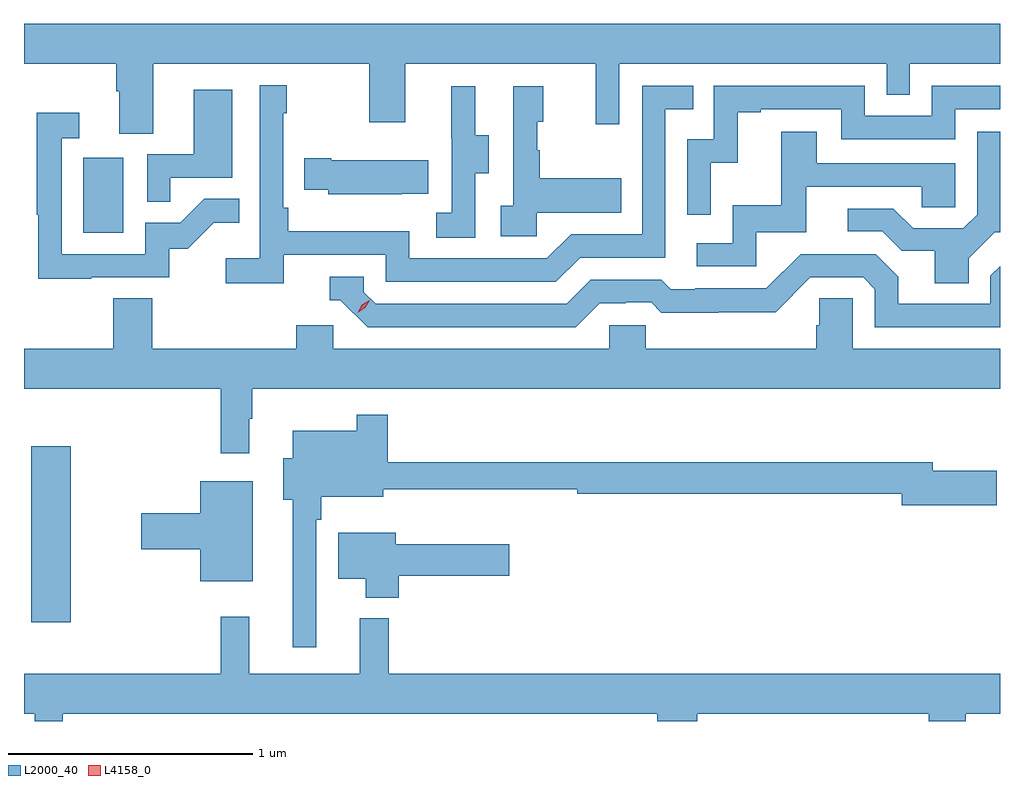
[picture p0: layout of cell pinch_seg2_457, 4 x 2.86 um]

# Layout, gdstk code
import gdstk
lib = gdstk.Library(unit=1e-6, precision=1e-09)
def R(c, l, rs):  # rectangles x0, y0, x1, y1
    for r in rs: c.add(gdstk.rectangle(r[:2], r[2:], *l))
def P(c, l, *ps):  # polygons
    for p in ps: c.add(gdstk.Polygon(p, *l))
L2000_40 = (2000, 40)
L4158_0 = (4158, 0)

pinch_seg2_457 = lib.new_cell('pinch_seg2_457')
R(pinch_seg2_457, L2000_40, [(909.251,590.736,909.412,591.457), (909.464,592.332,909.628,592.639)])
P(pinch_seg2_457, L2000_40, [(909.751,593.024),(910.636,593.024),(910.636,592.785),(910.783,592.785),(910.783,593.024),(911.564,593.024),(911.564,592.776),(911.661,592.776),(911.661,593.024),(912.756,593.024),(912.756,592.897),(912.852,592.897),(912.852,593.024),(913.221,593.024),(913.221,593.188),(909.221,593.188),(909.221,593.024),(909.599,593.024),(909.599,592.912),(909.611,592.912),(909.611,592.738),(909.751,592.738)],
  [(910.286,592.242),(910.704,592.242),(910.704,592.131),(911.401,592.131),(911.5,592.23),(911.85,592.23),(911.85,592.839),(911.963,592.839),(911.963,592.935),(911.754,592.935),(911.754,592.326),(911.463,592.326),(911.364,592.227),(910.8,592.227),(910.8,592.339),(910.304,592.339),(910.304,592.435),(910.284,592.435),(910.284,592.823),(910.297,592.823),(910.297,592.936),(910.188,592.936),(910.188,592.228),(910.047,592.228),(910.047,592.126),(910.286,592.126)],
  [(912.036,592.619),(912.146,592.619),(912.146,592.827),(912.241,592.827),(912.241,592.839),(912.57,592.839),(912.57,592.716),(913.038,592.716),(913.038,592.839),(913.221,592.839),(913.221,592.935),(912.942,592.935),(912.942,592.812),(912.666,592.812),(912.666,592.935),(912.048,592.935),(912.048,592.716),(911.94,592.716),(911.94,592.407),(912.036,592.407)],
  [(911.322,592.415),(911.669,592.415),(911.669,592.555),(911.335,592.555),(911.335,592.67),(911.325,592.67),(911.325,592.788),(911.35,592.788),(911.35,592.933),(911.226,592.933),(911.226,592.442),(911.175,592.442),(911.175,592.317),(911.322,592.317)],
  [(911.07,592.576),(911.125,592.576),(911.125,592.731),(911.071,592.731),(911.071,592.933),(910.973,592.933),(910.973,592.719),(910.974,592.719),(910.974,592.415),(910.911,592.415),(910.911,592.312),(911.07,592.312)],
  [(909.821,592.557),(910.075,592.557),(910.075,592.918),(909.917,592.918),(909.917,592.653),(909.726,592.653),(909.726,592.459),(909.821,592.459)],
  [(909.497,592.149),(909.816,592.149),(909.816,592.266),(909.892,592.266),(909.999,592.373),(910.103,592.373),(910.103,592.472),(909.959,592.472),(909.861,592.374),(909.717,592.374),(909.717,592.245),(909.375,592.245),(909.375,592.719),(909.448,592.719),(909.448,592.825),(909.274,592.825),(909.274,592.405),(909.279,592.405),(909.279,592.144),(909.497,592.144)],
  [(912.222,592.335),(912.427,592.335),(912.427,592.521),(912.901,592.521),(912.901,592.437),(913.038,592.437),(913.038,592.617),(912.469,592.617),(912.469,592.747),(912.325,592.747),(912.325,592.444),(912.126,592.444),(912.126,592.29),(911.979,592.29),(911.979,592.194),(912.222,592.194)],
  [(913.093,592.228),(913.2,592.335),(913.221,592.335),(913.221,592.747),(913.128,592.747),(913.128,592.407),(913.071,592.35),(912.865,592.35),(912.784,592.431),(912.597,592.431),(912.597,592.338),(912.738,592.338),(912.818,592.258),(912.953,592.258),(912.953,592.126),(913.093,592.126)],
  [(910.769,592.493),(910.877,592.493),(910.877,592.63),(910.48,592.63),(910.48,592.638),(910.369,592.638),(910.369,592.508),(910.467,592.508),(910.467,592.49),(910.769,592.49)],
  [(911.581,592.044),(911.688,592.044),(911.688,592.047),(911.791,592.047),(911.833,592.005),(912.066,592.005),(912.066,592.007),(912.302,592.007),(912.444,592.149),(912.66,592.149),(912.708,592.101),(912.708,591.945),(913.221,591.945),(913.221,592.194),(913.182,592.155),(913.182,592.041),(912.805,592.041),(912.805,592.151),(912.711,592.245),(912.405,592.245),(912.264,592.104),(911.971,592.104),(911.971,592.101),(911.872,592.101),(911.833,592.14),(911.544,592.14),(911.445,592.041),(910.662,592.041),(910.614,592.089),(910.614,592.152),(910.475,592.152),(910.475,592.056),(910.518,592.056),(910.629,591.945),(911.482,591.945)],
  [(910.144,591.569),(910.156,591.569),(910.156,591.692),(913.221,591.692),(913.221,591.856),(912.618,591.856),(912.618,592.064),(912.481,592.064),(912.481,591.954),(912.467,591.954),(912.467,591.856),(911.769,591.856),(911.769,591.954),(911.619,591.954),(911.619,591.856),(910.488,591.856),(910.488,591.954),(910.337,591.954),(910.337,591.856),(909.746,591.856),(909.746,592.064),(909.586,592.064),(909.586,591.856),(909.221,591.856),(909.221,591.692),(910.027,591.692),(910.027,591.429),(910.144,591.429)],
  [(910.419,591.155),(910.439,591.155),(910.439,591.251),(910.693,591.251),(910.693,591.28),(911.489,591.28),(911.489,591.262),(912.818,591.262),(912.818,591.215),(913.207,591.215),(913.207,591.357),(912.946,591.357),(912.946,591.391),(910.712,591.391),(910.712,591.586),(910.584,591.586),(910.584,591.52),(910.322,591.52),(910.322,591.409),(910.283,591.409),(910.283,591.239),(910.322,591.239),(910.322,590.634),(910.419,590.634)],
  [(910.159,591.313),(909.944,591.313),(909.944,591.182),(909.702,591.182),(909.702,591.035),(909.944,591.035),(909.944,590.903),(910.159,590.903)],
  [(910.757,590.926),(911.209,590.926),(911.209,591.055),(910.744,591.055),(910.744,591.103),(910.508,591.103),(910.508,590.915),(910.622,590.915),(910.622,590.837),(910.757,590.837)],
  [(910.598,590.752),(910.598,590.524),(910.145,590.524),(910.145,590.758),(910.027,590.758),(910.027,590.524),(909.221,590.524),(909.221,590.36),(909.266,590.36),(909.266,590.331),(909.379,590.331),(909.379,590.36),(911.816,590.36),(911.816,590.331),(911.98,590.331),(911.98,590.36),(912.929,590.36),(912.929,590.331),(913.081,590.331),(913.081,590.36),(913.221,590.36),(913.221,590.524),(910.715,590.524),(910.715,590.752)])
P(pinch_seg2_457, L4158_0, [(910.589,592.004),(910.589,592.005),(910.606,592.037),(910.637,592.056),(910.637,592.056),(910.637,592.056),(910.62,592.024),(910.589,592.004)])

lib.write_gds('pinch_seg2_457.gds')
